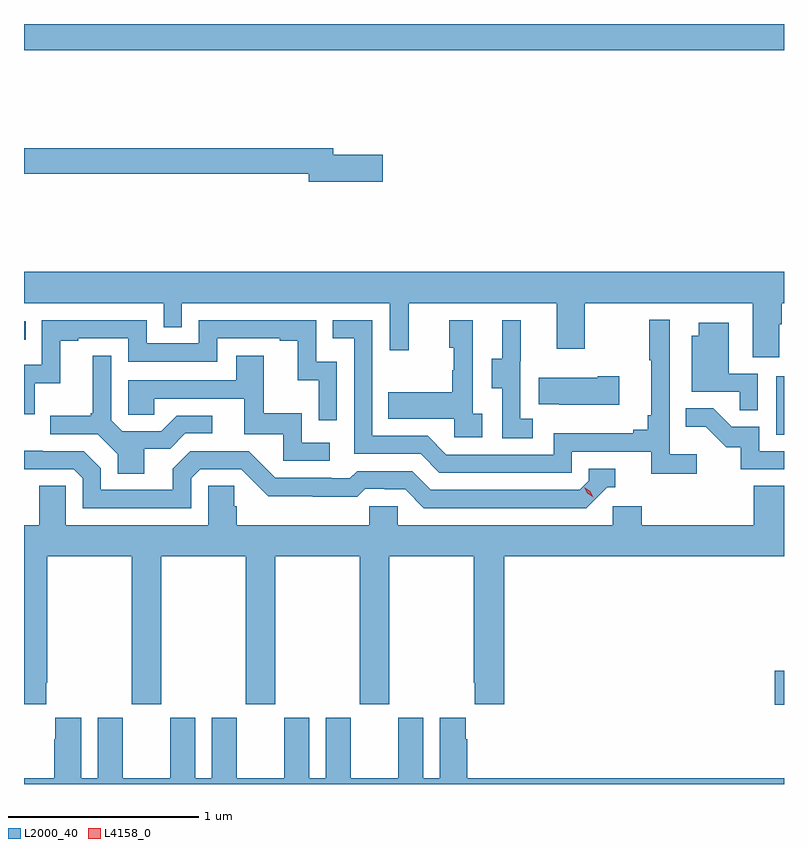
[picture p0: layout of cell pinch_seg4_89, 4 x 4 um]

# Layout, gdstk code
import gdstk
lib = gdstk.Library(unit=1e-6, precision=1e-09)
def R(c, l, rs):  # rectangles x0, y0, x1, y1
    for r in rs: c.add(gdstk.rectangle(r[:2], r[2:], *l))
def P(c, l, *ps):  # polygons
    for p in ps: c.add(gdstk.Polygon(p, *l))
L2000_40 = (2000, 40)
L4158_0 = (4158, 0)

pinch_seg4_89 = lib.new_cell('pinch_seg4_89')
R(pinch_seg4_89, L2000_40, [(1068.894,820.015,1068.943,820.193), (1068.902,821.436,1068.943,821.743), (1064.943,821.936,1064.951,822.033), (1064.943,823.46,1068.943,823.597)])
P(pinch_seg4_89, L2000_40, [(1066.831,822.908),(1066.57,822.908),(1066.57,822.944),(1064.943,822.944),(1064.943,822.808),(1066.442,822.808),(1066.442,822.766),(1066.831,822.766)],
  [(1064.943,822.128),(1065.678,822.128),(1065.678,822.001),(1065.774,822.001),(1065.774,822.128),(1066.869,822.128),(1066.869,821.88),(1066.967,821.88),(1066.967,822.128),(1067.747,822.128),(1067.747,821.889),(1067.895,821.889),(1067.895,822.128),(1068.779,822.128),(1068.779,821.842),(1068.919,821.842),(1068.919,822.016),(1068.932,822.016),(1068.932,822.128),(1068.943,822.128),(1068.943,822.292),(1064.943,822.292)],
  [(1068.484,821.332),(1068.342,821.332),(1068.342,822.04),(1068.234,822.04),(1068.234,821.827),(1068.245,821.827),(1068.245,821.539),(1068.226,821.539),(1068.226,821.462),(1068.149,821.462),(1068.149,821.443),(1067.73,821.443),(1067.73,821.331),(1067.166,821.331),(1067.067,821.43),(1066.776,821.43),(1066.776,822.039),(1066.567,822.039),(1066.567,821.943),(1066.68,821.943),(1066.68,821.334),(1067.03,821.334),(1067.129,821.235),(1067.826,821.235),(1067.826,821.346),(1068.245,821.346),(1068.245,821.23),(1068.484,821.23)],
  [(1066.59,821.82),(1066.482,821.82),(1066.482,822.039),(1065.864,822.039),(1065.864,821.916),(1065.588,821.916),(1065.588,822.039),(1065.036,822.039),(1065.036,821.803),(1064.943,821.803),(1064.943,821.544),(1065,821.544),(1065,821.705),(1065.133,821.705),(1065.133,821.931),(1065.229,821.931),(1065.229,821.943),(1065.492,821.943),(1065.492,821.82),(1065.96,821.82),(1065.96,821.943),(1066.289,821.943),(1066.289,821.931),(1066.385,821.931),(1066.385,821.723),(1066.494,821.723),(1066.494,821.511),(1066.59,821.511)],
  [(1067.356,821.546),(1067.304,821.546),(1067.304,822.037),(1067.18,822.037),(1067.18,821.892),(1067.206,821.892),(1067.206,821.774),(1067.196,821.774),(1067.196,821.659),(1066.861,821.659),(1066.861,821.519),(1067.208,821.519),(1067.208,821.421),(1067.356,821.421)],
  [(1067.62,821.519),(1067.556,821.519),(1067.556,821.823),(1067.558,821.823),(1067.558,822.037),(1067.459,822.037),(1067.459,821.835),(1067.405,821.835),(1067.405,821.68),(1067.46,821.68),(1067.46,821.416),(1067.62,821.416)],
  [(1068.804,821.757),(1068.652,821.757),(1068.652,822.025),(1068.494,822.025),(1068.494,821.956),(1068.458,821.956),(1068.458,821.661),(1068.709,821.661),(1068.709,821.563),(1068.804,821.563)],
  [(1066.552,821.394),(1066.404,821.394),(1066.404,821.548),(1066.205,821.548),(1066.205,821.851),(1066.061,821.851),(1066.061,821.721),(1065.492,821.721),(1065.492,821.541),(1065.629,821.541),(1065.629,821.625),(1066.103,821.625),(1066.103,821.439),(1066.308,821.439),(1066.308,821.298),(1066.552,821.298)],
  [(1065.577,821.362),(1065.712,821.362),(1065.792,821.442),(1065.934,821.442),(1065.934,821.535),(1065.746,821.535),(1065.665,821.454),(1065.459,821.454),(1065.402,821.511),(1065.402,821.851),(1065.305,821.851),(1065.305,821.548),(1065.294,821.548),(1065.294,821.536),(1065.081,821.536),(1065.081,821.439),(1065.33,821.439),(1065.437,821.332),(1065.437,821.23),(1065.577,821.23)],
  [(1068.076,821.742),(1067.963,821.742),(1067.963,821.734),(1067.653,821.734),(1067.653,821.597),(1067.761,821.597),(1067.761,821.594),(1068.076,821.594)],
  [(1068.943,821.349),(1068.813,821.349),(1068.813,821.478),(1068.668,821.478),(1068.571,821.575),(1068.427,821.575),(1068.427,821.477),(1068.531,821.477),(1068.638,821.37),(1068.715,821.37),(1068.715,821.253),(1068.943,821.253)],
  [(1065.822,821.205),(1065.87,821.253),(1066.086,821.253),(1066.228,821.111),(1066.464,821.111),(1066.464,821.109),(1066.697,821.109),(1066.739,821.151),(1066.842,821.151),(1066.842,821.148),(1066.949,821.148),(1067.048,821.049),(1067.901,821.049),(1068.012,821.16),(1068.055,821.16),(1068.055,821.256),(1067.916,821.256),(1067.916,821.193),(1067.868,821.145),(1067.085,821.145),(1066.986,821.244),(1066.697,821.244),(1066.658,821.205),(1066.559,821.205),(1066.559,821.208),(1066.266,821.208),(1066.125,821.349),(1065.819,821.349),(1065.725,821.255),(1065.725,821.145),(1065.348,821.145),(1065.348,821.259),(1065.258,821.349),(1065.042,821.349),(1065.042,821.351),(1064.943,821.351),(1064.943,821.253),(1065.204,821.253),(1065.252,821.205),(1065.252,821.049),(1065.822,821.049)],
  [(1065.061,820.129),(1065.066,820.129),(1065.066,820.796),(1065.511,820.796),(1065.511,820.017),(1065.666,820.017),(1065.666,820.796),(1066.111,820.796),(1066.111,820.017),(1066.266,820.017),(1066.266,820.796),(1066.711,820.796),(1066.711,820.017),(1066.866,820.017),(1066.866,820.796),(1067.311,820.796),(1067.311,820.129),(1067.315,820.129),(1067.315,820.017),(1067.471,820.017),(1067.471,820.796),(1068.943,820.796),(1068.943,821.168),(1068.785,821.168),(1068.785,820.96),(1068.194,820.96),(1068.194,821.058),(1068.042,821.058),(1068.042,820.96),(1066.911,820.96),(1066.911,821.058),(1066.761,821.058),(1066.761,820.96),(1066.064,820.96),(1066.064,821.058),(1066.049,821.058),(1066.049,821.168),(1065.912,821.168),(1065.912,820.96),(1065.162,820.96),(1065.162,821.168),(1065.023,821.168),(1065.023,820.96),(1064.943,820.96),(1064.943,820.017),(1065.061,820.017)],
  [(1068.943,819.628),(1067.276,819.628),(1067.276,819.833),(1067.269,819.833),(1067.269,819.946),(1067.132,819.946),(1067.132,819.628),(1067.044,819.628),(1067.044,819.946),(1066.913,819.946),(1066.913,819.628),(1066.663,819.628),(1066.663,819.946),(1066.532,819.946),(1066.532,819.628),(1066.444,819.628),(1066.444,819.946),(1066.313,819.946),(1066.313,819.628),(1066.063,819.628),(1066.063,819.946),(1065.932,819.946),(1065.932,819.628),(1065.844,819.628),(1065.844,819.946),(1065.713,819.946),(1065.713,819.628),(1065.463,819.628),(1065.463,819.946),(1065.332,819.946),(1065.332,819.628),(1065.244,819.628),(1065.244,819.946),(1065.107,819.946),(1065.107,819.833),(1065.101,819.833),(1065.101,819.628),(1064.943,819.628),(1064.943,819.597),(1068.943,819.597)])
P(pinch_seg4_89, L4158_0, [(1067.939,821.107),(1067.908,821.126),(1067.892,821.159),(1067.892,821.159),(1067.892,821.159),(1067.923,821.139),(1067.939,821.107),(1067.939,821.107)])

lib.write_gds('pinch_seg4_89.gds')
